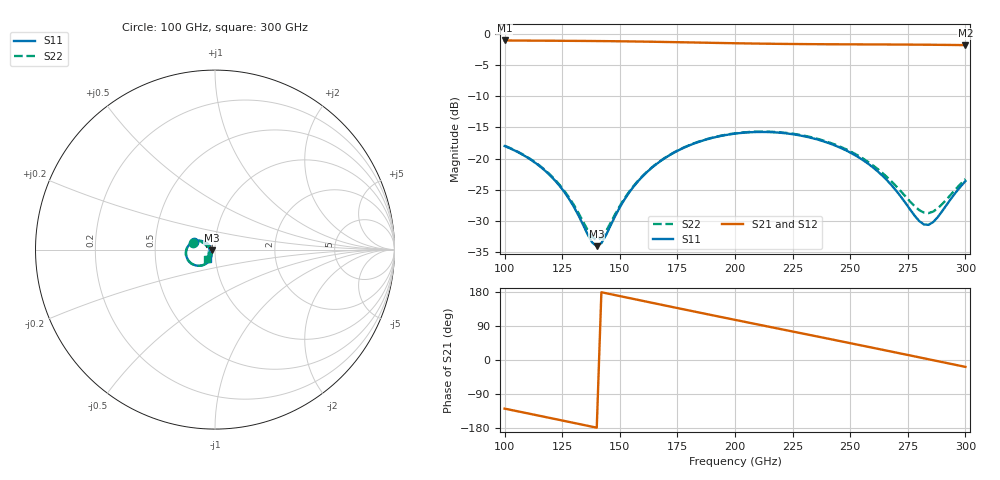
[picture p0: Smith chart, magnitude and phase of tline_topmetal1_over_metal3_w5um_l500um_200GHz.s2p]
#  GHZ S DB R 50
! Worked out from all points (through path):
!   101 points, 100 GHz to 300 GHz, reference 50 ohm
!   highest |S21| = -1.04 dB at 100 GHz (marker M1); lowest = -1.8 dB at 300 GHz (marker M2)
!   group delay of S21, straight-line fit = 3.46 ps
!   lowest |S11| = -34.1 dB at 140 GHz (marker M3), VSWR 1.04, Z = 48.1 - j0.378 ohm
!   |S11| at or under -10 dB: start of sweep to end of sweep
!   |S22| runs from -33.1 to -15.7 dB; largest |S21 - S12| = 9.6e-14
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100  -17.99 161.6  -1.04 -128.3  -1.04 -128.3  -17.94 162.5
110  -19.86 151.2  -1.06 -140.8  -1.06 -140.8  -19.80 152.5
120  -22.80 143.3  -1.08 -153.3  -1.08 -153.3  -22.68 145.1
128  -26.50 142.2  -1.10 -163.4  -1.10 -163.4  -26.27 144.7
134  -30.59 152.1  -1.11 -171.0  -1.11 -171.0  -30.08 155.1
138  -33.48 174.0  -1.12 -176.1  -1.12 -176.1  -32.60 175.7
140  -34.07 -168.6  -1.13 -178.6  -1.13 -178.6  -33.12 -168.8
144  -32.31 -137.0  -1.14 176.3  -1.14 176.3  -31.69 -140.0
150  -27.84 -118.9  -1.17 168.7  -1.17 168.7  -27.62 -121.4
156  -24.50 -116.5  -1.20 161.1  -1.20 161.1  -24.40 -118.1
168  -20.32 -123.5  -1.27 145.9  -1.27 145.9  -20.27 -124.2
184  -17.36 -138.9  -1.38 125.8  -1.38 125.8  -17.31 -139.1
200  -16.00 -155.8  -1.48 106.0  -1.48 106.0  -15.95 -155.6
216  -15.77 -172.9  -1.57 86.3  -1.57 86.3  -15.70 -172.2
234  -16.76 168.7  -1.63 64.2  -1.63 64.2  -16.66 169.9
252  -19.44 152.8  -1.66 41.9  -1.66 41.9  -19.23 155.1
260  -21.46 148.0  -1.67 32.0  -1.67 32.0  -21.13 151.1
268  -24.30 147.3  -1.69 22.0  -1.69 22.0  -23.70 151.4
280  -30.05 173.1  -1.71 7.0  -1.71 7.0  -28.29 174.8
284  -30.65 -164.4  -1.72 2.0  -1.72 2.0  -28.77 -168.0
288  -29.41 -144.0  -1.74 -3.1  -1.74 -3.1  -28.00 -151.5
300  -23.63 -124.4  -1.78 -18.1  -1.78 -18.1  -23.30 -131.2
